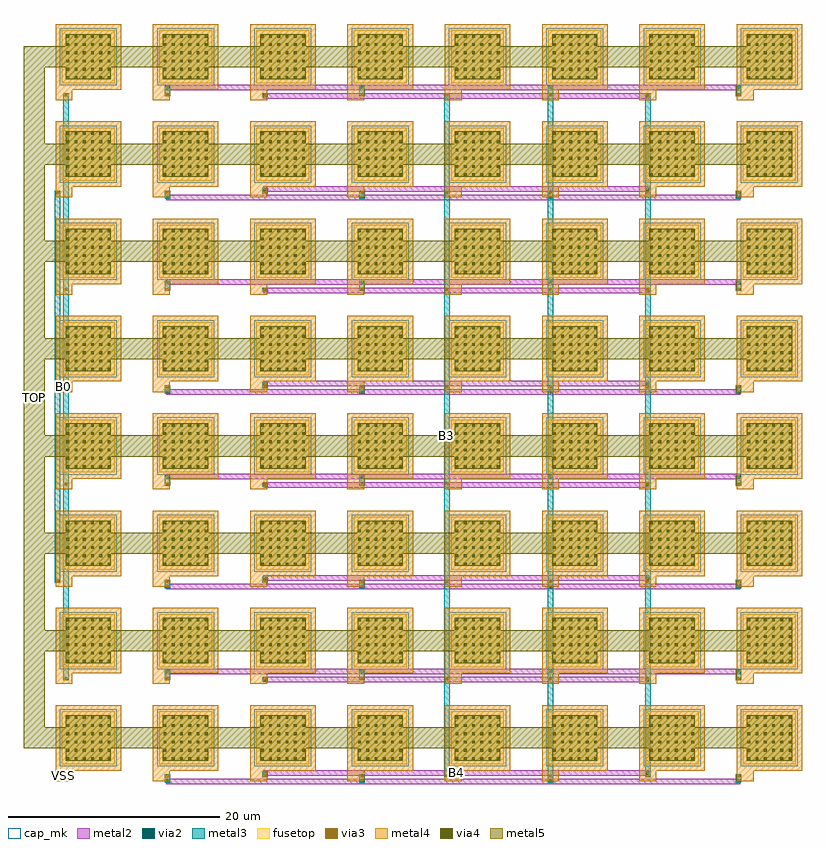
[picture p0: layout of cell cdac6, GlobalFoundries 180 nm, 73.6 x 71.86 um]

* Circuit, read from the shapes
.subckt cdac6 B0 B1 B2 B3 B4 B5 TOP VSS
XC1 TOP VSS cap_mim_2f0fF c_width=5u c_length=5u
XC2 TOP B2 cap_mim_2f0fF c_width=5u c_length=5u m=4
XC3 TOP B1 cap_mim_2f0fF c_width=5u c_length=5u m=2
XC4 TOP B0 cap_mim_2f0fF c_width=5u c_length=5u
XC5 TOP B5 cap_mim_2f0fF c_width=5u c_length=5u m=32
XC6 TOP B4 cap_mim_2f0fF c_width=5u c_length=5u m=16
XC7 TOP B3 cap_mim_2f0fF c_width=5u c_length=5u m=8
.ends

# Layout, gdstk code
import gdstk
lib = gdstk.Library(unit=1e-6, precision=1e-09)
def R(c, l, rs):  # rectangles x0, y0, x1, y1
    for r in rs: c.add(gdstk.rectangle(r[:2], r[2:], *l))
def A(c, l, x, y, w, h, nx, ny, dx, dy):  # array of equal rectangles
    R(c, l, [(x+i*dx, y+j*dy, x+i*dx+w, y+j*dy+h) for i in range(nx) for j in range(ny)])
metal2 = (36, 0)
via2 = (38, 0)
via3 = (40, 0)
via4 = (41, 0)
metal3 = (42, 0)
metal4 = (46, 0)
fusetop = (75, 0)
metal5 = (81, 0)
cap_mk = (117, 5)

cdac6 = lib.new_cell('cdac6')
R(cdac6, metal2, [(9.86,-1.86,10.14,-1.34), (10,-1.86,64,-1.34), (28.26,-1.86,28.54,-1.34), (46.06,-1.86,46.34,-1.34), (46.06,-1.86,46.34,-1.34), (63.86,-1.86,64.14,-1.34), (19.06,-1.06,19.34,-0.54), (19.2,-1.06,55.4,-0.54), (55.26,-1.06,55.54,-0.54), (55.26,-1.06,55.54,-0.54), (19.06,7.74,19.34,8.26), (19.2,7.74,55.4,8.26), (55.26,7.74,55.54,8.26), (55.26,7.74,55.54,8.26), (9.86,8.54,10.14,9.06), (10,8.54,64,9.06), (28.26,8.54,28.54,9.06), (46.06,8.54,46.34,9.06), (46.06,8.54,46.34,9.06), (63.86,8.54,64.14,9.06), (9.86,16.54,10.14,17.06), (10,16.54,64,17.06), (28.26,16.54,28.54,17.06), (46.06,16.54,46.34,17.06), (46.06,16.54,46.34,17.06), (63.86,16.54,64.14,17.06), (19.06,17.34,19.34,17.86), (19.2,17.34,55.4,17.86), (55.26,17.34,55.54,17.86), (55.26,17.34,55.54,17.86), (19.06,26.14,19.34,26.66), (19.2,26.14,55.4,26.66), (55.26,26.14,55.54,26.66), (55.26,26.14,55.54,26.66), (9.86,26.94,10.14,27.46), (10,26.94,64,27.46), (28.26,26.94,28.54,27.46), (46.06,26.94,46.34,27.46), (46.06,26.94,46.34,27.46), (63.86,26.94,64.14,27.46), (9.86,34.94,10.14,35.46), (10,34.94,64,35.46), (28.26,34.94,28.54,35.46), (46.06,34.94,46.34,35.46), (46.06,34.94,46.34,35.46), (63.86,34.94,64.14,35.46), (19.06,35.74,19.34,36.26), (19.2,35.74,55.4,36.26), (55.26,35.74,55.54,36.26), (55.26,35.74,55.54,36.26), (19.06,44.54,19.34,45.06), (19.2,44.54,55.4,45.06), (55.26,44.54,55.54,45.06), (55.26,44.54,55.54,45.06), (9.86,45.34,10.14,45.86), (10,45.34,64,45.86), (28.26,45.34,28.54,45.86), (46.06,45.34,46.34,45.86), (46.06,45.34,46.34,45.86), (63.86,45.34,64.14,45.86), (9.86,53.34,10.14,53.86), (10,53.34,64,53.86), (28.26,53.34,28.54,53.86), (46.06,53.34,46.34,53.86), (46.06,53.34,46.34,53.86), (63.86,53.34,64.14,53.86), (19.06,54.14,19.34,54.66), (19.2,54.14,55.4,54.66), (55.26,54.14,55.54,54.66), (55.26,54.14,55.54,54.66), (19.06,62.94,19.34,63.46), (19.2,62.94,55.4,63.46), (55.26,62.94,55.54,63.46), (55.26,62.94,55.54,63.46), (9.86,63.74,10.14,64.26), (10,63.74,64,64.26), (28.26,63.74,28.54,64.26), (46.06,63.74,46.34,64.26), (46.06,63.74,46.34,64.26), (63.86,63.74,64.14,64.26)])
R(cdac6, via2, [(9.87,-1.73,10.13,-1.47), (28.27,-1.73,28.53,-1.47), (46.07,-1.73,46.33,-1.47), (46.07,-1.73,46.33,-1.47), (63.87,-1.73,64.13,-1.47), (19.07,-0.93,19.33,-0.67), (55.27,-0.93,55.53,-0.67), (55.27,-0.93,55.53,-0.67), (19.07,7.87,19.33,8.13), (55.27,7.87,55.53,8.13), (55.27,7.87,55.53,8.13), (9.87,8.67,10.13,8.93), (28.27,8.67,28.53,8.93), (46.07,8.67,46.33,8.93), (46.07,8.67,46.33,8.93), (63.87,8.67,64.13,8.93), (9.87,16.67,10.13,16.93), (28.27,16.67,28.53,16.93), (46.07,16.67,46.33,16.93), (46.07,16.67,46.33,16.93), (63.87,16.67,64.13,16.93), (19.07,17.47,19.33,17.73), (55.27,17.47,55.53,17.73), (55.27,17.47,55.53,17.73), (19.07,26.27,19.33,26.53), (55.27,26.27,55.53,26.53), (55.27,26.27,55.53,26.53), (9.87,27.07,10.13,27.33), (28.27,27.07,28.53,27.33), (46.07,27.07,46.33,27.33), (46.07,27.07,46.33,27.33), (63.87,27.07,64.13,27.33), (9.87,35.07,10.13,35.33), (28.27,35.07,28.53,35.33), (46.07,35.07,46.33,35.33), (46.07,35.07,46.33,35.33), (63.87,35.07,64.13,35.33), (19.07,35.87,19.33,36.13), (55.27,35.87,55.53,36.13), (55.27,35.87,55.53,36.13), (19.07,44.67,19.33,44.93), (55.27,44.67,55.53,44.93), (55.27,44.67,55.53,44.93), (9.87,45.47,10.13,45.73), (28.27,45.47,28.53,45.73), (46.07,45.47,46.33,45.73), (46.07,45.47,46.33,45.73), (63.87,45.47,64.13,45.73), (9.87,53.47,10.13,53.73), (28.27,53.47,28.53,53.73), (46.07,53.47,46.33,53.73), (46.07,53.47,46.33,53.73), (63.87,53.47,64.13,53.73), (19.07,54.27,19.33,54.53), (55.27,54.27,55.53,54.53), (55.27,54.27,55.53,54.53), (19.07,63.07,19.33,63.33), (55.27,63.07,55.53,63.33), (55.27,63.07,55.53,63.33), (9.87,63.87,10.13,64.13), (28.27,63.87,28.53,64.13), (46.07,63.87,46.33,64.13), (46.07,63.87,46.33,64.13), (63.87,63.87,64.13,64.13)])
A(cdac6, via3, 9.87, -1.23, 0.26, 0.26, 3, 8, 9.2, 9.2)
A(cdac6, via3, 36.27, -1.23, 0.26, 0.26, 1, 8, 0, 9.2)
A(cdac6, via3, 46.07, -1.23, 0.26, 0.26, 1, 8, 0, 9.2)
A(cdac6, via3, 55.27, -1.23, 0.26, 0.26, 1, 8, 0, 9.2)
A(cdac6, via3, 63.87, -1.23, 0.26, 0.26, 1, 8, 0, 9.2)
A(cdac6, via3, 0.27, 7.97, 0.26, 0.26, 1, 4, 0, 18.4)
R(cdac6, via3, [(-0.53,17.17,-0.27,17.43), (-0.53,53.97,-0.27,54.23)])
A(cdac6, via4, 0.42, 0.42, 0.26, 0.26, 6, 6, 0.78, 0.78)
A(cdac6, via4, 9.62, 0.42, 0.26, 0.26, 6, 6, 0.78, 0.78)
A(cdac6, via4, 18.82, 0.42, 0.26, 0.26, 6, 6, 0.78, 0.78)
A(cdac6, via4, 28.02, 0.42, 0.26, 0.26, 6, 6, 0.78, 0.78)
A(cdac6, via4, 37.22, 0.42, 0.26, 0.26, 6, 6, 0.78, 0.78)
A(cdac6, via4, 46.42, 0.42, 0.26, 0.26, 6, 6, 0.78, 0.78)
A(cdac6, via4, 55.62, 0.42, 0.26, 0.26, 6, 6, 0.78, 0.78)
A(cdac6, via4, 64.82, 0.42, 0.26, 0.26, 6, 6, 0.78, 0.78)
A(cdac6, via4, 0.42, 9.62, 0.26, 0.26, 6, 6, 0.78, 0.78)
A(cdac6, via4, 9.62, 9.62, 0.26, 0.26, 6, 6, 0.78, 0.78)
A(cdac6, via4, 18.82, 9.62, 0.26, 0.26, 6, 6, 0.78, 0.78)
A(cdac6, via4, 28.02, 9.62, 0.26, 0.26, 6, 6, 0.78, 0.78)
A(cdac6, via4, 37.22, 9.62, 0.26, 0.26, 6, 6, 0.78, 0.78)
A(cdac6, via4, 46.42, 9.62, 0.26, 0.26, 6, 6, 0.78, 0.78)
A(cdac6, via4, 55.62, 9.62, 0.26, 0.26, 6, 6, 0.78, 0.78)
A(cdac6, via4, 64.82, 9.62, 0.26, 0.26, 6, 6, 0.78, 0.78)
A(cdac6, via4, 0.42, 18.82, 0.26, 0.26, 6, 6, 0.78, 0.78)
A(cdac6, via4, 9.62, 18.82, 0.26, 0.26, 6, 6, 0.78, 0.78)
A(cdac6, via4, 18.82, 18.82, 0.26, 0.26, 6, 6, 0.78, 0.78)
A(cdac6, via4, 28.02, 18.82, 0.26, 0.26, 6, 6, 0.78, 0.78)
A(cdac6, via4, 37.22, 18.82, 0.26, 0.26, 6, 6, 0.78, 0.78)
A(cdac6, via4, 46.42, 18.82, 0.26, 0.26, 6, 6, 0.78, 0.78)
A(cdac6, via4, 55.62, 18.82, 0.26, 0.26, 6, 6, 0.78, 0.78)
A(cdac6, via4, 64.82, 18.82, 0.26, 0.26, 6, 6, 0.78, 0.78)
A(cdac6, via4, 0.42, 28.02, 0.26, 0.26, 6, 6, 0.78, 0.78)
A(cdac6, via4, 9.62, 28.02, 0.26, 0.26, 6, 6, 0.78, 0.78)
A(cdac6, via4, 18.82, 28.02, 0.26, 0.26, 6, 6, 0.78, 0.78)
A(cdac6, via4, 28.02, 28.02, 0.26, 0.26, 6, 6, 0.78, 0.78)
A(cdac6, via4, 37.22, 28.02, 0.26, 0.26, 6, 6, 0.78, 0.78)
A(cdac6, via4, 46.42, 28.02, 0.26, 0.26, 6, 6, 0.78, 0.78)
A(cdac6, via4, 55.62, 28.02, 0.26, 0.26, 6, 6, 0.78, 0.78)
A(cdac6, via4, 64.82, 28.02, 0.26, 0.26, 6, 6, 0.78, 0.78)
A(cdac6, via4, 0.42, 37.22, 0.26, 0.26, 6, 6, 0.78, 0.78)
A(cdac6, via4, 9.62, 37.22, 0.26, 0.26, 6, 6, 0.78, 0.78)
A(cdac6, via4, 18.82, 37.22, 0.26, 0.26, 6, 6, 0.78, 0.78)
A(cdac6, via4, 28.02, 37.22, 0.26, 0.26, 6, 6, 0.78, 0.78)
A(cdac6, via4, 37.22, 37.22, 0.26, 0.26, 6, 6, 0.78, 0.78)
A(cdac6, via4, 46.42, 37.22, 0.26, 0.26, 6, 6, 0.78, 0.78)
A(cdac6, via4, 55.62, 37.22, 0.26, 0.26, 6, 6, 0.78, 0.78)
A(cdac6, via4, 64.82, 37.22, 0.26, 0.26, 6, 6, 0.78, 0.78)
A(cdac6, via4, 0.42, 46.42, 0.26, 0.26, 6, 6, 0.78, 0.78)
A(cdac6, via4, 9.62, 46.42, 0.26, 0.26, 6, 6, 0.78, 0.78)
A(cdac6, via4, 18.82, 46.42, 0.26, 0.26, 6, 6, 0.78, 0.78)
A(cdac6, via4, 28.02, 46.42, 0.26, 0.26, 6, 6, 0.78, 0.78)
A(cdac6, via4, 37.22, 46.42, 0.26, 0.26, 6, 6, 0.78, 0.78)
A(cdac6, via4, 46.42, 46.42, 0.26, 0.26, 6, 6, 0.78, 0.78)
A(cdac6, via4, 55.62, 46.42, 0.26, 0.26, 6, 6, 0.78, 0.78)
A(cdac6, via4, 64.82, 46.42, 0.26, 0.26, 6, 6, 0.78, 0.78)
A(cdac6, via4, 0.42, 55.62, 0.26, 0.26, 6, 6, 0.78, 0.78)
A(cdac6, via4, 9.62, 55.62, 0.26, 0.26, 6, 6, 0.78, 0.78)
A(cdac6, via4, 18.82, 55.62, 0.26, 0.26, 6, 6, 0.78, 0.78)
A(cdac6, via4, 28.02, 55.62, 0.26, 0.26, 6, 6, 0.78, 0.78)
A(cdac6, via4, 37.22, 55.62, 0.26, 0.26, 6, 6, 0.78, 0.78)
A(cdac6, via4, 46.42, 55.62, 0.26, 0.26, 6, 6, 0.78, 0.78)
A(cdac6, via4, 55.62, 55.62, 0.26, 0.26, 6, 6, 0.78, 0.78)
A(cdac6, via4, 64.82, 55.62, 0.26, 0.26, 6, 6, 0.78, 0.78)
A(cdac6, via4, 0.42, 64.82, 0.26, 0.26, 6, 6, 0.78, 0.78)
A(cdac6, via4, 9.62, 64.82, 0.26, 0.26, 6, 6, 0.78, 0.78)
A(cdac6, via4, 18.82, 64.82, 0.26, 0.26, 6, 6, 0.78, 0.78)
A(cdac6, via4, 28.02, 64.82, 0.26, 0.26, 6, 6, 0.78, 0.78)
A(cdac6, via4, 37.22, 64.82, 0.26, 0.26, 6, 6, 0.78, 0.78)
A(cdac6, via4, 46.42, 64.82, 0.26, 0.26, 6, 6, 0.78, 0.78)
A(cdac6, via4, 55.62, 64.82, 0.26, 0.26, 6, 6, 0.78, 0.78)
A(cdac6, via4, 64.82, 64.82, 0.26, 0.26, 6, 6, 0.78, 0.78)
A(cdac6, metal3, 9.74, -1.6, 0.52, 0.5, 1, 4, 0, 18.4)
A(cdac6, metal3, 28.14, -1.6, 0.52, 0.5, 3, 4, 17.8, 18.4)
A(cdac6, metal3, 9.74, -1.24, 0.52, 0.28, 3, 8, 9.2, 9.2)
A(cdac6, metal3, 36.14, -1.24, 0.52, 0.28, 1, 8, 0, 9.2)
A(cdac6, metal3, 18.94, -1.1, 0.52, 0.3, 1, 4, 0, 18.4)
A(cdac6, metal3, 55.14, -1.1, 0.52, 0.3, 1, 4, 0, 18.4)
A(cdac6, metal3, 0.14, 7.96, 0.52, 0.28, 1, 4, 0, 18.4)
A(cdac6, metal3, 18.94, 8, 0.52, 0.1, 1, 4, 0, 18.4)
A(cdac6, metal3, 55.14, 8, 0.52, 0.1, 1, 4, 0, 18.4)
A(cdac6, metal3, 9.74, 8.1, 0.52, 0.7, 1, 4, 0, 18.4)
A(cdac6, metal3, 28.14, 8.1, 0.52, 0.7, 3, 4, 17.8, 18.4)
R(cdac6, metal3, [(9.74,-1.74,10.26,-1.46), (28.14,-1.74,28.66,-1.46), (45.94,-1.74,46.46,-1.46), (45.94,-1.74,46.46,-1.46), (63.74,-1.74,64.26,-1.46), (45.94,-1.6,46.46,64), (45.94,-1.24,46.46,-0.96), (55.14,-1.24,55.66,-0.96), (63.74,-1.24,64.26,-0.96), (36.14,-1.1,36.66,63.3), (18.94,-0.94,19.46,-0.66), (55.14,-0.94,55.66,-0.66), (55.14,-0.94,55.66,-0.66), (55.14,-0.8,55.66,63.2), (18.94,7.86,19.46,8.14), (55.14,7.86,55.66,8.14), (55.14,7.86,55.66,8.14), (45.94,7.96,46.46,8.24), (55.14,7.96,55.66,8.24), (63.74,7.96,64.26,8.24), (0.14,8.1,0.66,63.3), (9.74,8.66,10.26,8.94), (28.14,8.66,28.66,8.94), (45.94,8.66,46.46,8.94), (45.94,8.66,46.46,8.94), (63.74,8.66,64.26,8.94), (9.74,16.66,10.26,16.94), (28.14,16.66,28.66,16.94), (45.94,16.66,46.46,16.94), (45.94,16.66,46.46,16.94), (63.74,16.66,64.26,16.94), (-0.66,17.16,-0.14,17.44), (45.94,17.16,46.46,17.44), (55.14,17.16,55.66,17.44), (63.74,17.16,64.26,17.44), (-0.66,17.3,-0.14,54.1), (18.94,17.46,19.46,17.74), (55.14,17.46,55.66,17.74), (55.14,17.46,55.66,17.74), (18.94,26.26,19.46,26.54), (55.14,26.26,55.66,26.54), (55.14,26.26,55.66,26.54), (45.94,26.36,46.46,26.64), (55.14,26.36,55.66,26.64), (63.74,26.36,64.26,26.64), (9.74,27.06,10.26,27.34), (28.14,27.06,28.66,27.34), (45.94,27.06,46.46,27.34), (45.94,27.06,46.46,27.34), (63.74,27.06,64.26,27.34), (9.74,35.06,10.26,35.34), (28.14,35.06,28.66,35.34), (45.94,35.06,46.46,35.34), (45.94,35.06,46.46,35.34), (63.74,35.06,64.26,35.34), (45.94,35.56,46.46,35.84), (55.14,35.56,55.66,35.84), (63.74,35.56,64.26,35.84), (18.94,35.86,19.46,36.14), (55.14,35.86,55.66,36.14), (55.14,35.86,55.66,36.14), (18.94,44.66,19.46,44.94), (55.14,44.66,55.66,44.94), (55.14,44.66,55.66,44.94), (45.94,44.76,46.46,45.04), (55.14,44.76,55.66,45.04), (63.74,44.76,64.26,45.04), (9.74,45.46,10.26,45.74), (28.14,45.46,28.66,45.74), (45.94,45.46,46.46,45.74), (45.94,45.46,46.46,45.74), (63.74,45.46,64.26,45.74), (9.74,53.46,10.26,53.74), (28.14,53.46,28.66,53.74), (45.94,53.46,46.46,53.74), (45.94,53.46,46.46,53.74), (63.74,53.46,64.26,53.74), (-0.66,53.96,-0.14,54.24), (45.94,53.96,46.46,54.24), (55.14,53.96,55.66,54.24), (63.74,53.96,64.26,54.24), (18.94,54.26,19.46,54.54), (55.14,54.26,55.66,54.54), (55.14,54.26,55.66,54.54), (18.94,63.06,19.46,63.34), (55.14,63.06,55.66,63.34), (55.14,63.06,55.66,63.34), (45.94,63.16,46.46,63.44), (55.14,63.16,55.66,63.44), (63.74,63.16,64.26,63.44), (9.74,63.86,10.26,64.14), (28.14,63.86,28.66,64.14), (45.94,63.86,46.46,64.14), (45.94,63.86,46.46,64.14), (63.74,63.86,64.26,64.14)])
A(cdac6, metal4, -0.6, -1.6, 1.6, 1, 8, 8, 9.2, 9.2)
A(cdac6, metal4, 9.86, -1.36, 0.28, 0.52, 3, 8, 9.2, 9.2)
A(cdac6, metal4, 36.26, -1.36, 0.28, 0.52, 1, 8, 0, 9.2)
A(cdac6, metal4, 46.06, -1.36, 0.28, 0.52, 1, 8, 0, 9.2)
A(cdac6, metal4, 55.26, -1.36, 0.28, 0.52, 1, 8, 0, 9.2)
A(cdac6, metal4, 63.86, -1.36, 0.28, 0.52, 1, 8, 0, 9.2)
A(cdac6, metal4, -0.6, -0.6, 6.2, 6.2, 8, 8, 9.2, 9.2)
A(cdac6, metal4, 0.26, 7.84, 0.28, 0.52, 1, 4, 0, 18.4)
R(cdac6, metal4, [(-0.54,17.04,-0.26,17.56), (-0.54,53.84,-0.26,54.36)])
A(cdac6, fusetop, 0, 0, 5, 5, 8, 8, 9.2, 9.2)
A(cdac6, metal5, 0.36, 0.36, 4.28, 4.28, 8, 8, 9.2, 9.2)
A(cdac6, metal5, -3.6, 1.5, 72.64, 2, 1, 8, 0, 9.2)
R(cdac6, metal5, [(-3.6,1.5,-1.6,67.9)])
A(cdac6, cap_mk, -0.2, -0.2, 5.4, 5.4, 8, 8, 9.2, 9.2)
cdac6.add(gdstk.Label('TOP', (-2.6,34.7), layer=81, texttype=10))
cdac6.add(gdstk.Label('B0', (0.2,35.7), layer=46, texttype=10))
cdac6.add(gdstk.Label('VSS', (0.2,-1.1), layer=46, texttype=10))
cdac6.add(gdstk.Label('B1', (-0.4,35.7), layer=42, texttype=10))
cdac6.add(gdstk.Label('B2', (0.4,35.7), layer=42, texttype=10))
cdac6.add(gdstk.Label('B3', (36.4,31.1), layer=42, texttype=10))
cdac6.add(gdstk.Label('B4', (37.3,-0.8), layer=36, texttype=10))
cdac6.add(gdstk.Label('B5', (37,-1.6), layer=36, texttype=10))

lib.write_gds('cdac6.gds')
